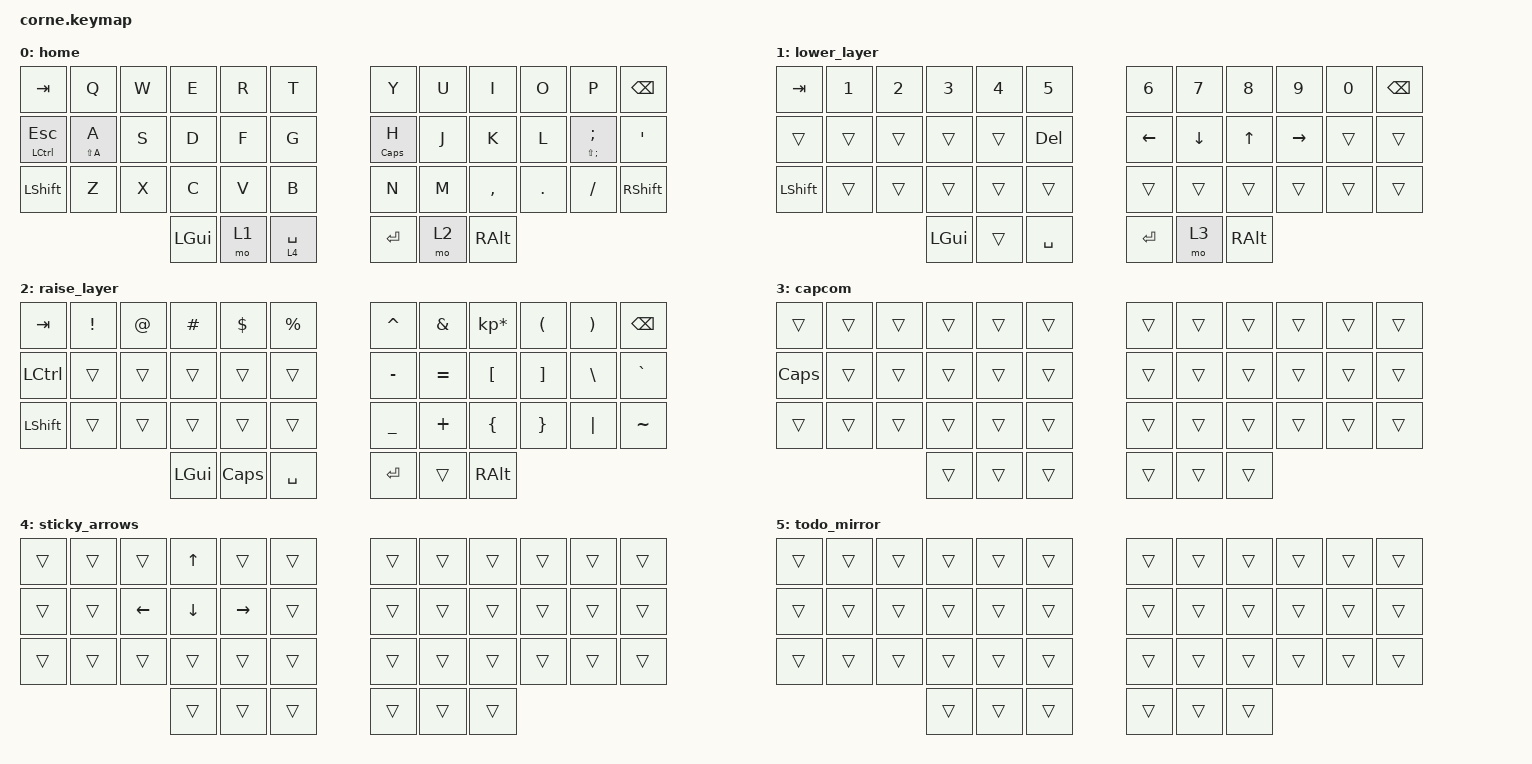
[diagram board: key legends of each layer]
/*
 * Copyright (c) 2020 The ZMK Contributors
 *
 * SPDX-License-Identifier: MIT
 */

#include <behaviors.dtsi>
#include <dt-bindings/zmk/bt.h>
#include <dt-bindings/zmk/keys.h>

&mt {
    tapping-term-ms = <200>;
    flavor = "balanced";
};

/ {
    combos {
        compatible = "zmk,combos";

        combo_df_to_3 {
            bindings = <&tog 4>;
            key-positions = <15 17>;
            layers = <1>;
        };

        combo_p-sing_to_0 {
            bindings = <&tog 0>;
            key-positions = <23 10>;
            layers = <4>;
        };

        combo_bt_next {
            bindings = <&bt BT_NXT>;
            key-positions = <0 5>;
            layers = <1>;
        };

        combo_to_default {
            bindings = <&to 0>;
            key-positions = <17 18 16 19>;
        };

        combo_bt_prev {
            bindings = <&bt BT_PRV>;
            key-positions = <0 4>;
            layers = <1>;
        };

        tap_alt {
            bindings = <&sk RIGHT_ALT>;
            key-positions = <32 33>;
        };

        tap_S_M: tap_s_m {
            bindings = <&os_shft_alt>;
            key-positions = <32 33 31>;
        };
    };

    behaviors {
        os_shft_alt: one_shot_shift_alt {
            compatible = "zmk,behavior-one-shot";
            bindings = <&none>;        // Placeholder binding - using LALT as example
            mods = <(MOD_RSFT | MOD_RALT)>; // Your shift+alt mods
            #binding-cells = <0>;          // <<< MAKE SURE THIS LINE IS PRESENT AND CORRECT
        };
    };

    behaviors {
        u_mt: u_mt {
            compatible = "zmk,behavior-hold-tap";
            label = "U_MT";
            bindings = <&mt>, <&kp>;

            #binding-cells = <2>;
            tapping-term-ms = <200>;
        };

        u_lt: u_lt {
            compatible = "zmk,behavior-hold-tap";
            label = "U_LT";
            bindings = <&lt>, <&kp>;

            #binding-cells = <2>;
            tapping-term-ms = <200>;
        };
    };

    keymap {
        compatible = "zmk,keymap";

        home {
            // -----------------------------------------------------------------------------------------
            // |  TAB |  Q  |  W  |  E  |  R  |  T  |   |  Y  |  U   |  I  |  O  |  P  | BKSP |
            // | CTRL |  A  |  S  |  D  |  F  |  G  |   |  H  |  J   |  K  |  L  |  ;  |  '   |
            // | SHFT |  Z  |  X  |  C  |  V  |  B  |   |  N  |  M   |  ,  |  .  |  /  | SHFT |
            //                    | GUI | LWR | SPC |   | ENT | RSE  | ALT |

            bindings = <
&kp TAB               &kp Q          &kp W  &kp E     &kp R  &kp T          &kp Y         &kp U  &kp I      &kp O    &kp P                     &kp BSPC
&mt LEFT_CONTROL ESC  &u_mt LS(A) A  &kp S  &kp D     &kp F  &kp G          &u_mt CAPS H  &kp J  &kp K      &kp L    &u_mt LS(SEMI) SEMICOLON  &kp SQT
&kp LSHFT             &kp Z          &kp X  &kp C     &kp V  &kp B          &kp N         &kp M  &kp COMMA  &kp DOT  &kp FSLH                  &kp RIGHT_SHIFT
                                            &kp LGUI  &mo 1  &lt 4 SPACE    &kp RET       &mo 2  &kp RALT
            >;
        };

        lower_layer {
            // -----------------------------------------------------------------------------------------
            // |  TAB |  1  |  2  |  3  |  4  |  5  |   |  6  |  7  |  8  |  9  |  0  | BKSP |
            // | BTCLR| BT1 | BT2 | BT3 | BT4 | BT5 |   | LFT | DWN |  UP | RGT |     |      |
            // | SHFT |     |     |     |     |     |   |     |     |     |     |     |      |
            //                    | GUI |     | SPC |   | ENT |     | ALT |

            bindings = <
&kp TAB    &kp N1  &kp N2  &kp N3    &kp N4  &kp N5        &kp N6    &kp N7    &kp N8    &kp N9     &kp N0  &kp BSPC
&trans     &trans  &trans  &trans    &trans  &kp DELETE    &kp LEFT  &kp DOWN  &kp UP    &kp RIGHT  &trans  &trans
&kp LSHFT  &trans  &trans  &trans    &trans  &trans        &trans    &trans    &trans    &trans     &trans  &trans
                           &kp LGUI  &trans  &kp SPACE     &kp RET   &mo 3     &kp RALT
            >;
        };

        raise_layer {
            // -----------------------------------------------------------------------------------------
            // |  TAB |  !  |  @  |  #  |  $  |  %  |   |  ^  |  &  |  *  |  (  |  )  | BKSP |
            // | CTRL |     |     |     |     |     |   |  -  |  =  |  [  |  ]  |  \  |  `   |
            // | SHFT |     |     |     |     |     |   |  _  |  +  |  {  |  }  | "|" |  ~   |
            //                    | GUI |     | SPC |   | ENT |     | ALT |

            bindings = <
&kp TAB    &kp EXCL  &kp AT  &kp HASH  &kp DLLR  &kp PRCNT    &kp CARET  &kp AMPS   &kp KP_MULTIPLY  &kp LPAR  &kp RPAR  &kp BSPC
&kp LCTRL  &trans    &trans  &trans    &trans    &trans       &kp MINUS  &kp EQUAL  &kp LBKT         &kp RBKT  &kp BSLH  &kp GRAVE
&kp LSHFT  &trans    &trans  &trans    &trans    &trans       &kp UNDER  &kp PLUS   &kp LBRC         &kp RBRC  &kp PIPE  &kp TILDE
                             &kp LGUI  &kp CAPS  &kp SPACE    &kp RET    &trans     &kp RALT
            >;
        };

        capcom {
            bindings = <
&trans    &trans  &trans  &trans  &trans  &trans    &trans  &trans  &trans  &trans  &trans  &trans
&kp CAPS  &trans  &trans  &trans  &trans  &trans    &trans  &trans  &trans  &trans  &trans  &trans
&trans    &trans  &trans  &trans  &trans  &trans    &trans  &trans  &trans  &trans  &trans  &trans
                          &trans  &trans  &trans    &trans  &trans  &trans
            >;
        };

        sticky_arrows {
            bindings = <
&trans  &trans  &trans    &kp UP    &trans     &trans    &trans  &trans  &trans  &trans  &trans  &trans
&trans  &trans  &kp LEFT  &kp DOWN  &kp RIGHT  &trans    &trans  &trans  &trans  &trans  &trans  &trans
&trans  &trans  &trans    &trans    &trans     &trans    &trans  &trans  &trans  &trans  &trans  &trans
                          &trans    &trans     &trans    &trans  &trans  &trans
            >;
        };

        todo_mirror {
            bindings = <
&trans  &trans  &trans  &trans  &trans  &trans    &trans  &trans  &trans  &trans  &trans  &trans
&trans  &trans  &trans  &trans  &trans  &trans    &trans  &trans  &trans  &trans  &trans  &trans
&trans  &trans  &trans  &trans  &trans  &trans    &trans  &trans  &trans  &trans  &trans  &trans
                        &trans  &trans  &trans    &trans  &trans  &trans
            >;
        };
    };

    conditional_layers { compatible = "zmk,conditional-layers"; };
};
